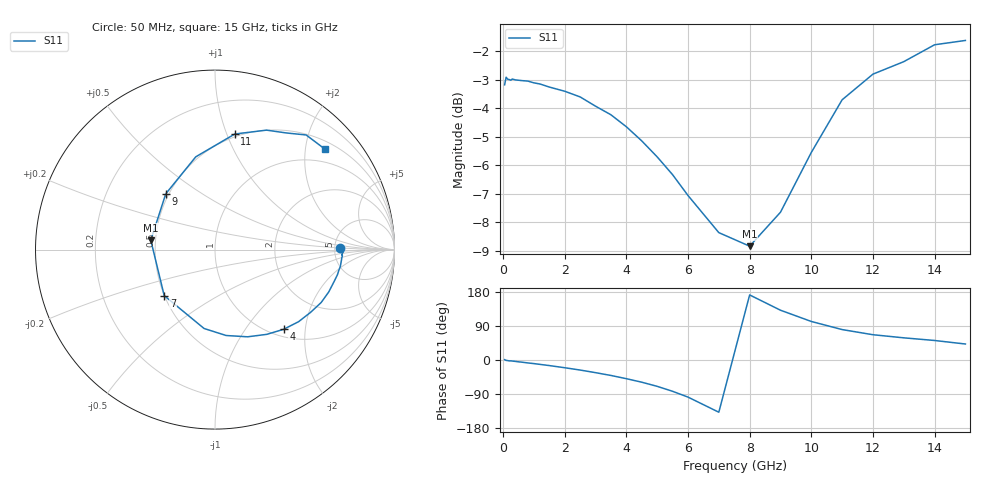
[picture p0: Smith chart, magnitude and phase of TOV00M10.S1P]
! SIEMENS Small Signal Semiconductors
! BAT15-03W
! Si Schottky Diode in SOD323
! IF = 0.1 mA
! S-Parameters:  May  1996
# GHz  S  MA  R  50
!  f  S11
! GHz  MAG  ANG
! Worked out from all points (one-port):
!   31 points, 50 MHz to 15 GHz, reference 50 ohm
!   lowest |S11| = -8.8 dB at 8 GHz (marker M1), VSWR 2.13, Z = 23.5 + j2.83 ohm
!   |S11| at or under -10 dB: nowhere
!   S11 on the Smith chart (normalised r, x): 50 MHz: 5.53, +0.23; 4 GHz: 1.13, -1.53; 7 GHz: 0.50, -0.30; 9 GHz: 0.48, +0.36; 11 GHz: 0.48, +1.07; 15 GHz: 0.68, +2.43
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0.05  0.6941 0.9
0.1  0.7157 -1.0
0.15  0.7099 -1.6
0.2  0.709 -2.4
0.25  0.7071 -2.3
0.3  0.7105 -2.8
0.6  0.706 -5.6
0.8  0.7047 -7.7
1  0.6996 -9.5
1.2  0.6963 -11.6
2  0.6763 -20.4
2.5  0.661 -26.5
3  0.6367 -33.4
3.5  0.6149 -40.8
4  0.5858 -49.3
4.5  0.5533 -58.6
5  0.5187 -69.5
5.5  0.4827 -82.6
6  0.4437 -97.9
7  0.3819 -137.8
8  0.3615 171.7
9  0.4147 131.4
10  0.528 101.7
11  0.6532 80.3
12  0.7247 66.7
13  0.7621 58.5
14  0.816 51.5
15  0.8304 42.2
